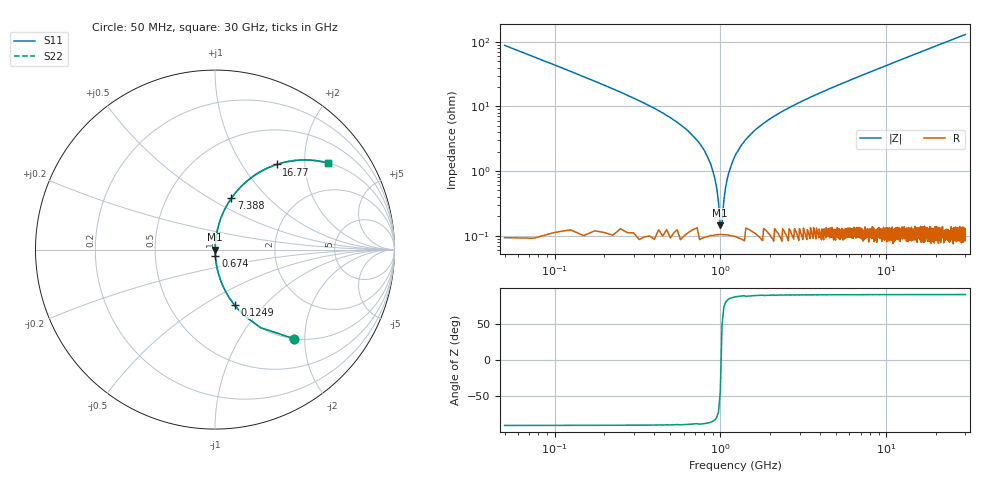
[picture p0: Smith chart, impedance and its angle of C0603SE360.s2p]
!	AVX Thin Film Operation 	Date: April 2014
!	Description: Accu-P® Series, Thin Film  SMD RF Capacitor
!	Part Number: 06033K360FBSTR
# MHZ S MA R 50
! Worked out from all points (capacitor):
!   1201 points, 50 MHz to 30 GHz, reference 50 ohm
!   read as one part in series: C = 36 pF near 199.8 MHz
!   lowest |Z| = 144 mohm at 998.4 MHz (marker M1)
!   series resonance near 1.01 GHz, so ESL is about 690 pH
!   S11 on the Smith chart (normalised r, x): 50 MHz: 1.00, -1.76; 124.9 MHz: 1.00, -0.70; 674 MHz: 1.00, -0.07; 7.388 GHz: 1.00, +0.63; 16.77 GHz: 1.00, +1.45; 30 GHz: 1.00, +2.60
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50  0.661 -48.5  0.75 41.4  0.75 41.4  0.661 -48.5
124.875  0.329 -70.6  0.943 19.2  0.943 19.2  0.329 -70.6
274.625  0.147 -81.1  0.988 8.5  0.988 8.5  0.147 -81.1
673.958  0.036 -86.2  0.998 2.1  0.998 2.1  0.036 -86.2
798.75  0.021 -85.8  0.999 1.2  0.999 1.2  0.021 -85.8
898.583  0.01 -83.4  0.999 0.6  0.999 0.6  0.01 -83.4
998.417  0.001467 -42.6  0.999 0.1  0.999 0.1  0.001467 -42.6
1098.25  0.007429 81.2  0.999 -0.4  0.999 -0.4  0.007429 81.2
1148.167  0.011 83.9  0.999 -0.6  0.999 -0.6  0.011 83.9
1248  0.019 85.6  0.999 -1.1  0.999 -1.1  0.019 85.6
1397.75  0.029 86.2  0.999 -1.7  0.999 -1.7  0.029 86.2
1622.375  0.043 86.1  0.998 -2.5  0.998 -2.5  0.043 86.1
1971.792  0.063 85.4  0.997 -3.6  0.997 -3.6  0.063 85.4
3194.75  0.124 82.4  0.991 -7.1  0.991 -7.1  0.124 82.4
5041.667  0.205 77.9  0.978 -11.8  0.978 -11.8  0.205 77.9
7387.75  0.3 72.4  0.953 -17.4  0.953 -17.4  0.3 72.4
10058.29  0.396 66.5  0.917 -23.3  0.917 -23.3  0.396 66.5
15025  0.544 57.0  0.838 -32.9  0.838 -32.9  0.544 57.0
16772.08  0.586 54.0  0.809 -35.9  0.809 -35.9  0.586 54.0
20016.67  0.654 49.1  0.756 -40.8  0.756 -40.8  0.654 49.1
25033.29  0.734 42.7  0.678 -47.3  0.678 -47.3  0.734 42.7
30000  0.792 37.6  0.61 -52.4  0.61 -52.4  0.792 37.6
